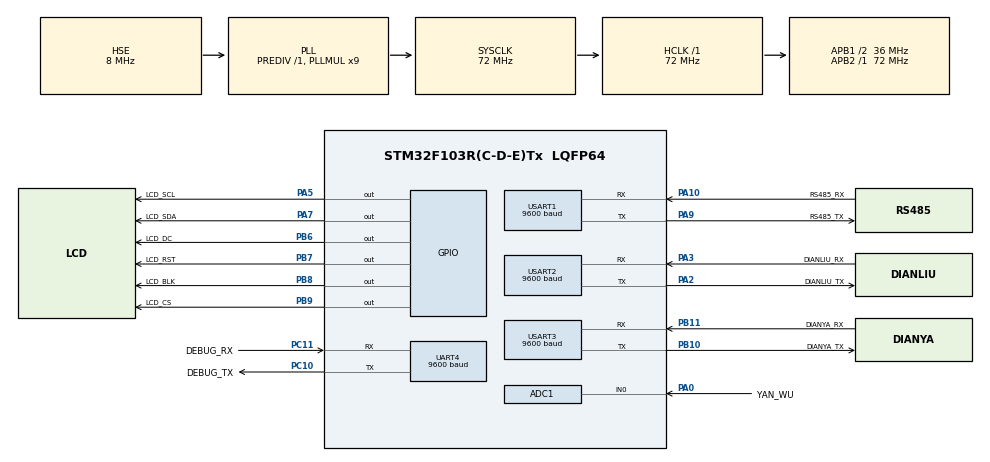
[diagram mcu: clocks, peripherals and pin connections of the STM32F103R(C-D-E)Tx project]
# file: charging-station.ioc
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ADC1.Channel-0\#ChannelRegularConversion=ADC_CHANNEL_0
ADC1.NbrOfConversionFlag=1
ADC1.Rank-0\#ChannelRegularConversion=1
ADC1.SamplingTime-0\#ChannelRegularConversion=ADC_SAMPLETIME_1CYCLE_5
ADC1.master=1
Dma.ADC1.0.Direction=DMA_PERIPH_TO_MEMORY
Dma.ADC1.0.Instance=DMA1_Channel1
Dma.ADC1.0.MemDataAlignment=DMA_MDATAALIGN_HALFWORD
Dma.ADC1.0.MemInc=DMA_MINC_ENABLE
Dma.ADC1.0.Mode=DMA_NORMAL
Dma.ADC1.0.PeriphDataAlignment=DMA_PDATAALIGN_HALFWORD
Dma.ADC1.0.PeriphInc=DMA_PINC_DISABLE
Dma.ADC1.0.Priority=DMA_PRIORITY_LOW
Dma.Request0=ADC1
Mcu.Family=STM32F1
Mcu.Name=STM32F103R(C-D-E)Tx
Mcu.Package=LQFP64
NVIC.ADC1_2_IRQn=true\:0\:0\:false\:false\:true\:true\:true\:true
NVIC.DMA1_Channel1_IRQn=true\:0\:0\:false\:false\:true\:false\:true\:true
NVIC.PriorityGroup=NVIC_PRIORITYGROUP_4
NVIC.UART4_IRQn=true\:0\:0\:false\:false\:true\:true\:true\:true
NVIC.USART1_IRQn=true\:0\:0\:false\:false\:true\:true\:true\:true
NVIC.USART2_IRQn=true\:0\:0\:false\:false\:true\:true\:true\:true
NVIC.USART3_IRQn=true\:0\:0\:false\:false\:true\:true\:true\:true
PA0-WKUP.GPIO_Label=YAN_WU
PA0-WKUP.Signal=ADCx_IN0
PA10.GPIO_Label=RS485_RX
PA10.Mode=Asynchronous
PA10.Signal=USART1_RX
PA13.Mode=Serial_Wire
PA13.Signal=SYS_JTMS-SWDIO
PA14.Mode=Serial_Wire
PA14.Signal=SYS_JTCK-SWCLK
PA2.GPIO_Label=DIANLIU_TX
PA2.Mode=Asynchronous
PA2.Signal=USART2_TX
PA3.GPIO_Label=DIANLIU_RX
PA3.Mode=Asynchronous
PA3.Signal=USART2_RX
PA5.GPIO_Label=LCD_SCL
PA5.GPIO_PuPd=GPIO_PULLUP
PA5.GPIO_Speed=GPIO_SPEED_FREQ_HIGH
PA5.PinState=GPIO_PIN_SET
PA5.Signal=GPIO_Output
PA7.GPIO_Label=LCD_SDA
PA7.GPIO_PuPd=GPIO_PULLUP
PA7.GPIO_Speed=GPIO_SPEED_FREQ_HIGH
PA7.PinState=GPIO_PIN_SET
PA7.Signal=GPIO_Output
PA9.GPIO_Label=RS485_TX
PA9.Mode=Asynchronous
PA9.Signal=USART1_TX
PB10.GPIO_Label=DIANYA_TX
PB10.Mode=Asynchronous
PB10.Signal=USART3_TX
PB11.GPIO_Label=DIANYA_RX
PB11.Mode=Asynchronous
PB11.Signal=USART3_RX
PB6.GPIO_Label=LCD_DC
PB6.GPIO_PuPd=GPIO_PULLUP
PB6.GPIO_Speed=GPIO_SPEED_FREQ_HIGH
PB6.PinState=GPIO_PIN_SET
PB6.Signal=GPIO_Output
PB7.GPIO_Label=LCD_RST
PB7.GPIO_PuPd=GPIO_PULLUP
PB7.GPIO_Speed=GPIO_SPEED_FREQ_HIGH
PB7.PinState=GPIO_PIN_SET
PB7.Signal=GPIO_Output
PB8.GPIO_Label=LCD_BLK
PB8.GPIO_PuPd=GPIO_PULLUP
PB8.GPIO_Speed=GPIO_SPEED_FREQ_HIGH
PB8.PinState=GPIO_PIN_SET
PB8.Signal=GPIO_Output
PB9.GPIO_Label=LCD_CS
PB9.GPIO_PuPd=GPIO_PULLUP
PB9.GPIO_Speed=GPIO_SPEED_FREQ_HIGH
PB9.PinState=GPIO_PIN_SET
PB9.Signal=GPIO_Output
PC10.GPIO_Label=DEBUG_TX
PC10.Mode=Asynchronous
PC10.Signal=UART4_TX
PC11.GPIO_Label=DEBUG_RX
PC11.Mode=Asynchronous
PC11.Signal=UART4_RX
PD0-OSC_IN.Mode=HSE-External-Oscillator
PD0-OSC_IN.Signal=RCC_OSC_IN
PD1-OSC_OUT.Mode=HSE-External-Oscillator
PD1-OSC_OUT.Signal=RCC_OSC_OUT
ProjectManager.HeapSize=0x200
ProjectManager.StackSize=0x400
ProjectManager.TargetToolchain=CMake
RCC.ADCPresc=RCC_ADCPCLK2_DIV6
RCC.AHBFreq_Value=72000000
RCC.APB1CLKDivider=RCC_HCLK_DIV2
RCC.APB1Freq_Value=36000000
RCC.APB1TimFreq_Value=72000000
RCC.APB2Freq_Value=72000000
RCC.APB2TimFreq_Value=72000000
RCC.HCLKFreq_Value=72000000
RCC.PLLMUL=RCC_PLL_MUL9
RCC.PLLSourceVirtual=RCC_PLLSOURCE_HSE
RCC.SYSCLKFreq_VALUE=72000000
RCC.SYSCLKSource=RCC_SYSCLKSOURCE_PLLCLK
RCC.USBFreq_Value=72000000
SH.ADCx_IN0.0=ADC1_IN0,IN0
UART4.BaudRate=9600
UART4.VirtualMode=Asynchronous
USART1.BaudRate=9600
USART1.VirtualMode=VM_ASYNC
USART2.BaudRate=9600
USART2.VirtualMode=VM_ASYNC
USART3.BaudRate=9600
USART3.VirtualMode=VM_ASYNC
board=custom

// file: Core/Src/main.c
/* USER CODE BEGIN Header */
/**
 ******************************************************************************
 * @file           : main.c
 * @brief          : Main program body
 ******************************************************************************
 * @attention
 *
 * Copyright (c) 2025 STMicroelectronics.
 * All rights reserved.
 *
 * This software is licensed under terms that can be found in the LICENSE file
 * in the root directory of this software component.
 * If no LICENSE file comes with this software, it is provided AS-IS.
 *
 ******************************************************************************
 */
/* USER CODE END Header */
#include "main.h"
#include "adc.h"
#include "dma.h"
#include "usart.h"
#include "gpio.h"

/* USER CODE BEGIN Includes */
#include "delay.h"
#include "dev.h"
#include "lcd.h"
#include "lcd_init.h"
#include "pic.h"
#include "sys.h"
/* USER CODE END Includes */

void SystemClock_Config(void);

int main(void)
{

    /* MCU Configuration--------------------------------------------------------*/

    /* Reset of all peripherals, Initializes the Flash interface and the Systick. */
    HAL_Init();

    /* Configure the system clock */
    SystemClock_Config();

    /* Initialize all configured peripherals */
    MX_GPIO_Init();
    MX_DMA_Init();
    MX_ADC1_Init();
    MX_USART1_UART_Init();
    MX_USART2_UART_Init();
    MX_USART3_UART_Init();
    MX_UART4_Init();
    /* USER CODE BEGIN 2 */

    float t = 0;
    delay_init();
    LCD_Init(); // LCD初始化
    LCD_Fill(0, 0, LCD_W, LCD_H, LIGHTBLUE);
    delay_ms(20);
    LCD_ShowString(24, 5, (uint8_t*)"I:", RED, LIGHTBLUE, 16, 0);
    delay_ms(20);
    LCD_ShowString(24, 25, (uint8_t*)"V:", RED, LIGHTBLUE, 16, 0);
    delay_ms(20);
    LCD_ShowString(24, 45, (uint8_t*)"F:", RED, LIGHTBLUE, 16, 0);
    delay_ms(20);
    LCD_ShowString(24, 65, (uint8_t*)"AP:", RED, LIGHTBLUE, 16, 0);
    delay_ms(20);
    LCD_ShowString(24, 85, (uint8_t*)"AE:", RED, LIGHTBLUE, 16, 0);
    delay_ms(20);
    LCD_ShowString(24, 105, (uint8_t*)"S:", RED, LIGHTBLUE, 16, 0);
    delay_ms(20);
    while (1)
    {
        LCD_ShowString(72, 5, (uint8_t*)"100", RED, LIGHTBLUE, 16, 0);
        delay_ms(20);

        LCD_ShowString(72, 25, (uint8_t*)"200", RED, LIGHTBLUE, 16, 0);
        delay_ms(20);

        LCD_ShowString(72, 45, (uint8_t*)"300", RED, LIGHTBLUE, 16, 0);
        delay_ms(20);

        LCD_ShowString(72, 65, (uint8_t*)"400", RED, LIGHTBLUE, 16, 0);
        delay_ms(20);

        LCD_ShowString(72, 85, (uint8_t*)"500", RED, LIGHTBLUE, 16, 0);
        delay_ms(20);

        LCD_ShowString(72, 105, (uint8_t*)"600", RED, LIGHTBLUE, 16, 0);
        delay_ms(20);

        Read_Dianliu();
        delay_ms(1000);
    }

    /* USER CODE END 2 */

    /* Infinite loop */
    while (1)
    {

    }
}

void SystemClock_Config(void)
{
    RCC_OscInitTypeDef RCC_OscInitStruct = {0};
    RCC_ClkInitTypeDef RCC_ClkInitStruct = {0};
    RCC_PeriphCLKInitTypeDef PeriphClkInit = {0};

    /** Initializes the RCC Oscillators according to the specified parameters
    * in the RCC_OscInitTypeDef structure.
    */
    RCC_OscInitStruct.OscillatorType = RCC_OSCILLATORTYPE_HSE;
    RCC_OscInitStruct.HSEState = RCC_HSE_ON;
    RCC_OscInitStruct.HSEPredivValue = RCC_HSE_PREDIV_DIV1;
    RCC_OscInitStruct.HSIState = RCC_HSI_ON;
    RCC_OscInitStruct.PLL.PLLState = RCC_PLL_ON;
    RCC_OscInitStruct.PLL.PLLSource = RCC_PLLSOURCE_HSE;
    RCC_OscInitStruct.PLL.PLLMUL = RCC_PLL_MUL9;
    if (HAL_RCC_OscConfig(&RCC_OscInitStruct) != HAL_OK)
    {
        Error_Handler();
    }

    /** Initializes the CPU, AHB and APB buses clocks
    */
    RCC_ClkInitStruct.ClockType = RCC_CLOCKTYPE_HCLK | RCC_CLOCKTYPE_SYSCLK
        | RCC_CLOCKTYPE_PCLK1 | RCC_CLOCKTYPE_PCLK2;
    RCC_ClkInitStruct.SYSCLKSource = RCC_SYSCLKSOURCE_PLLCLK;
    RCC_ClkInitStruct.AHBCLKDivider = RCC_SYSCLK_DIV1;
    RCC_ClkInitStruct.APB1CLKDivider = RCC_HCLK_DIV2;
    RCC_ClkInitStruct.APB2CLKDivider = RCC_HCLK_DIV1;

    if (HAL_RCC_ClockConfig(&RCC_ClkInitStruct, FLASH_LATENCY_2) != HAL_OK)
    {
        Error_Handler();
    }
    PeriphClkInit.PeriphClockSelection = RCC_PERIPHCLK_ADC;
    PeriphClkInit.AdcClockSelection = RCC_ADCPCLK2_DIV6;
    if (HAL_RCCEx_PeriphCLKConfig(&PeriphClkInit) != HAL_OK)
    {
        Error_Handler();
    }
}

void Error_Handler(void)
{
    __disable_irq();
    while (1)
    {
    }
}
#ifdef USE_FULL_ASSERT
/**
  * @brief  Reports the name of the source file and the source line number
  *         where the assert_param error has occurred.
  * @param  file: pointer to the source file name
  * @param  line: assert_param error line source number
  * @retval None
  */
void assert_failed(uint8_t* file, uint32_t line)
{
    /* USER CODE BEGIN 6 */
    /* User can add his own implementation to report the file name and line
       number, ex: printf("Wrong parameters value: file %s on line %d\r\n", file,
       line) */
    /* USER CODE END 6 */
}
#endif /* USE_FULL_ASSERT */

//test

#include "main.h"
#include <stdio.h>
#include <string.h>
#include <stdbool.h>

/* --- 硬件句柄 (由CubeMX生成) --- */
extern UART_HandleTypeDef huart1;

/* --- printf 重定向 --- */
int __io_putchar(int ch) {
    HAL_UART_Transmit(&huart1, (uint8_t *)&ch, 1, 0xFFFF);
    return ch;
}

/* --- 数据结构 --- */
typedef struct {
    char name[10];
    char trigger_key;
    float current_val;
    float base_val;
    float target_val;
    float step;
    bool is_active;
} sensor_attr_t;

typedef struct {
    char name[10];
    char trigger_key;
    uint16_t gpio_pin;
    GPIO_TypeDef* gpio_port;
    bool state;
} status_attr_t;

/* --- 可配置配置区 --- */
sensor_attr_t sensors[] = {
    {"Temp", '1', 25.0f, 25.0f, 40.0f, 0.5f, false},
    {"Humi", '2', 50.0f, 50.0f, 85.0f, 1.5f, false},
    {"Lux",  '3', 100.0f, 100.0f, 900.0f, 20.0f, false}
};

status_attr_t status_devs[] = {
    {"Relay", '5', GPIO_PIN_13, GPIOC, false} // 假设继电器在PC13
};

#define SENSOR_COUNT (sizeof(sensors)/sizeof(sensor_attr_t))
#define STATUS_COUNT (sizeof(status_devs)/sizeof(status_attr_t))

/* --- 全局变量 --- */
uint8_t rx_byte; // 接收缓冲区
uint32_t last_print_time = 0;

/* --- 中断回调函数 --- */
// 只要串口接收到一个字符，硬件就会自动调用这个函数
void HAL_UART_RxCpltCallback(UART_HandleTypeDef *huart) {
    if (huart->Instance == USART1) {
        // 1. 检查传感器触发
        for (int i = 0; i < SENSOR_COUNT; i++) {
            if (rx_byte == sensors[i].trigger_key) {
                sensors[i].is_active = !sensors[i].is_active;
            }
        }
        // 2. 检查状态切换
        for (int i = 0; i < STATUS_COUNT; i++) {
            if (rx_byte == status_devs[i].trigger_key) {
                status_devs[i].state = !status_devs[i].state;
                HAL_GPIO_WritePin(status_devs[i].gpio_port, status_devs[i].gpio_pin,
                                 status_devs[i].state ? GPIO_PIN_SET : GPIO_PIN_RESET);
            }
        }
        // 3. 重新开启中断接收（HAL库特性，每次接收完需要手动重新开启）
        HAL_UART_Receive_IT(&huart1, &rx_byte, 1);
    }
}

int main(void) {
    // 基础硬件初始化 (由CubeMX自动生成)
    HAL_Init();
    SystemClock_Config();
    MX_GPIO_Init();
    MX_USART1_UART_Init();

    // 首次开启串口中断接收
    HAL_UART_Receive_IT(&huart1, &rx_byte, 1);

    while (1) {
        uint32_t current_time = HAL_GetTick();

        // --- 逻辑处理与定时输出 (每1000ms) ---
        if (current_time - last_print_time >= 1000) {
            last_print_time = current_time;

            // 1. 更新传感器模拟数值（实现缓慢变化）
            for (int i = 0; i < SENSOR_COUNT; i++) {
                float goal = sensors[i].is_active ? sensors[i].target_val : sensors[i].base_val;
                if (sensors[i].current_val < goal) {
                    sensors[i].current_val += sensors[i].step;
                    if (sensors[i].current_val > goal) sensors[i].current_val = goal;
                } else if (sensors[i].current_val > goal) {
                    sensors[i].current_val -= sensors[i].step;
                    if (sensors[i].current_val < goal) sensors[i].current_val = goal;
                }
            }

            // 2. 静默打印输出
            printf(">> ");
            for (int i = 0; i < SENSOR_COUNT; i++) {
                printf("%s: %.1f | ", sensors[i].name, sensors[i].current_val);
            }
            for (int i = 0; i < STATUS_COUNT; i++) {
                printf("%s: %s ", status_devs[i].name, status_devs[i].state ? "ON " : "OFF");
            }
            printf("\r\n");
        }

        // 这里可以处理其他不干扰定时的业务逻辑
    }
}
